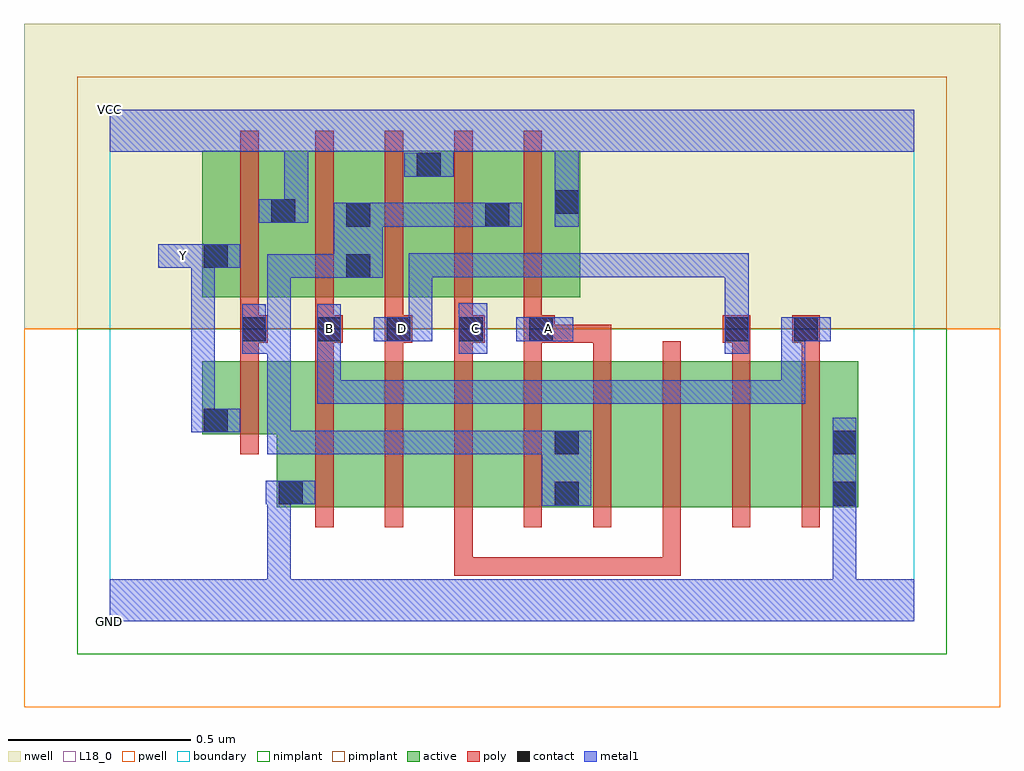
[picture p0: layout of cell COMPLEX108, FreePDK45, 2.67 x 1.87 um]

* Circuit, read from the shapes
.subckt COMPLEX108 A B C D GND VCC Y
M1 GND n1 Y VSUBS nfet w=0.2u l=0.05u
M2 n2 B GND VSUBS nfet w=0.4u l=0.05u
M3 n3 D n2 VSUBS nfet w=0.4u l=0.05u
M4 n4 C n3 VSUBS nfet w=0.4u l=0.05u
M5 n1 A n4 VSUBS nfet w=0.4u l=0.05u
M6 n5 A n1 VSUBS nfet w=0.4u l=0.05u
M7 n6 C n5 VSUBS nfet w=0.4u l=0.05u
M8 n7 D n6 VSUBS nfet w=0.4u l=0.05u
M9 GND B n7 VSUBS nfet w=0.4u l=0.05u
M10 VCC n1 Y n8 pfet w=0.4u l=0.05u
M11 n1 B VCC n8 pfet w=0.4u l=0.05u
M12 VCC D n1 n8 pfet w=0.4u l=0.05u
M13 n1 C VCC n8 pfet w=0.4u l=0.05u
M14 VCC A n1 n8 pfet w=0.4u l=0.05u
.ends

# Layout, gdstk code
import gdstk
lib = gdstk.Library(unit=1e-6, precision=1e-09)
def R(c, l, rs):  # rectangles x0, y0, x1, y1
    for r in rs: c.add(gdstk.rectangle(r[:2], r[2:], *l))
def A(c, l, x, y, w, h, nx, ny, dx, dy):  # array of equal rectangles
    R(c, l, [(x+i*dx, y+j*dy, x+i*dx+w, y+j*dy+h) for i in range(nx) for j in range(ny)])
active = (1, 0)
pwell = (2, 0)
nwell = (3, 0)
nimplant = (4, 0)
pimplant = (5, 0)
poly = (9, 0)
contact = (10, 0)
metal1 = (11, 0)
L18_0 = (18, 0)
boundary = (235, 0)

complex108 = lib.new_cell('COMPLEX108')
R(complex108, active, [(0.457,0.312,0.682,0.712), (0.682,0.312,0.872,0.712), (0.872,0.312,1.062,0.712), (1.062,0.312,1.287,0.712), (1.212,0.312,1.442,0.712), (1.212,0.312,1.287,0.577), (1.442,0.312,1.632,0.712), (1.632,0.312,1.822,0.712), (1.822,0.312,2.047,0.712), (1.972,0.312,2.047,0.712), (0.457,0.315,0.532,0.597), (0.252,0.512,0.532,0.712), (0.252,0.512,0.327,0.712), (0.252,0.887,0.512,1.287), (0.252,0.887,0.327,1.2), (0.437,0.887,0.717,1.287), (0.642,0.887,0.91,1.287), (0.835,0.887,1.097,1.287), (1.022,0.887,1.287,1.287), (1.212,0.887,1.287,1.255), (0.437,0.907,0.512,1.255), (0.642,0.907,0.717,1.2), (0.835,0.907,0.91,1.287), (1.022,0.907,1.097,1.2)])
R(complex108, pwell, [(-0.235,-0.235,2.435,0.8)])
R(complex108, nwell, [(-0.235,0.8,2.435,1.635)])
R(complex108, nimplant, [(-0.09,-0.09,2.29,0.8)])
R(complex108, pimplant, [(-0.09,0.8,2.29,1.49)])
A(complex108, poly, 0.562, 0.257, 0.05, 0.51, 8, 1, 0.19, 0)
A(complex108, poly, 0.562, 0.717, 0.05, 0.095, 5, 1, 0.19, 0)
A(complex108, poly, 0.562, 0.787, 0.05, 0.095, 4, 1, 0.19, 0)
A(complex108, poly, 0.562, 0.832, 0.05, 0.51, 4, 1, 0.19, 0)
R(complex108, poly, [(0.942,0.125,0.992,0.307), (0.942,0.125,0.992,0.175), (0.942,0.125,0.992,0.175), (0.942,0.125,0.992,0.175), (0.942,0.125,1.24,0.175), (1.19,0.125,1.24,0.175), (1.19,0.125,1.24,0.175), (1.19,0.125,1.24,0.175), (1.19,0.125,1.372,0.175), (1.322,0.125,1.372,0.175), (1.322,0.125,1.562,0.175), (1.512,0.125,1.562,0.307), (1.512,0.125,1.562,0.175), (1.512,0.125,1.562,0.175), (1.512,0.125,1.562,0.175), (0.357,0.457,0.407,0.767), (0.357,0.717,0.407,0.812), (1.702,0.717,1.752,0.812), (1.892,0.717,1.942,0.812), (0.357,0.762,0.432,0.837), (0.562,0.762,0.637,0.837), (0.752,0.762,0.827,0.837), (0.942,0.762,1.025,0.837), (1.132,0.762,1.217,0.837), (1.167,0.762,1.217,0.812), (1.167,0.762,1.217,0.812), (1.167,0.762,1.372,0.812), (1.322,0.762,1.372,0.812), (1.677,0.762,1.752,0.837), (1.867,0.762,1.942,0.837), (0.357,0.787,0.407,0.882), (0.357,0.832,0.407,1.342)])
R(complex108, contact, [(1.217,0.317,1.282,0.382), (1.977,0.317,2.042,0.382), (0.462,0.32,0.527,0.385), (1.217,0.457,1.282,0.522), (1.977,0.457,2.042,0.522), (0.257,0.517,0.322,0.582), (0.362,0.767,0.427,0.832), (0.567,0.767,0.632,0.832), (0.757,0.767,0.822,0.832), (0.955,0.767,1.02,0.832), (1.147,0.767,1.212,0.832), (1.682,0.767,1.747,0.832), (1.872,0.767,1.937,0.832), (0.647,0.94,0.712,1.005), (0.257,0.967,0.322,1.032), (0.647,1.08,0.712,1.145), (1.027,1.08,1.092,1.145), (0.442,1.09,0.507,1.155), (1.217,1.115,1.282,1.18), (0.84,1.217,0.905,1.282)])
R(complex108, metal1, [(0,0,2.2,0.115), (0.43,0.05,0.495,0.385), (1.977,0.05,2.042,0.347), (1.977,0.05,2.042,0.115), (1.977,0.05,2.042,0.115), (1.977,0.05,2.042,0.115), (1.977,0.05,2.042,0.115), (1.977,0.282,2.042,0.557), (1.182,0.317,1.317,0.522), (0.427,0.32,0.562,0.385), (0.43,0.32,0.495,0.385), (0.43,0.32,0.495,0.385), (0.43,0.32,0.495,0.385), (0.43,0.32,0.495,0.385), (0.43,0.457,0.495,0.522), (0.43,0.457,0.495,0.522), (0.43,0.457,0.495,0.522), (0.43,0.457,0.632,0.522), (0.43,0.457,0.495,0.797), (0.567,0.457,0.632,0.522), (0.567,0.457,0.632,0.522), (0.567,0.457,0.632,0.522), (0.567,0.457,0.882,0.522), (0.817,0.457,0.882,0.522), (0.817,0.457,0.882,0.522), (0.817,0.457,0.882,0.522), (0.817,0.457,1.04,0.522), (0.975,0.457,1.04,0.522), (0.975,0.457,1.04,0.522), (0.975,0.457,1.04,0.522), (0.975,0.457,1.197,0.522), (1.132,0.457,1.197,0.522), (1.132,0.457,1.247,0.522), (0.222,0.517,0.357,0.582), (0.222,0.517,0.287,1.032), (0.567,0.595,0.632,0.66), (0.567,0.595,0.882,0.66), (0.567,0.595,0.632,0.797), (0.817,0.595,0.882,0.66), (0.817,0.595,0.882,0.66), (0.817,0.595,0.882,0.66), (0.817,0.595,1.04,0.66), (0.975,0.595,1.04,0.66), (0.975,0.595,1.04,0.66), (0.975,0.595,1.04,0.66), (0.975,0.595,1.177,0.66), (1.112,0.595,1.177,0.66), (1.112,0.595,1.177,0.66), (1.112,0.595,1.177,0.66), (1.112,0.595,1.472,0.66), (1.407,0.595,1.472,0.66), (1.407,0.595,1.472,0.66), (1.407,0.595,1.472,0.66), (1.407,0.595,1.61,0.66), (1.545,0.595,1.61,0.66), (1.545,0.595,1.61,0.66), (1.545,0.595,1.61,0.66), (1.545,0.595,1.765,0.66), (1.7,0.595,1.765,0.66), (1.7,0.595,1.902,0.66), (1.837,0.595,1.902,0.66), (1.837,0.595,1.902,0.832), (0.362,0.732,0.427,0.867), (0.362,0.732,0.495,0.797), (0.43,0.732,0.495,0.797), (0.43,0.732,0.495,1.005), (0.567,0.732,0.632,0.797), (0.567,0.732,0.632,0.797), (0.567,0.732,0.632,0.867), (0.955,0.732,1.032,0.87), (1.682,0.732,1.747,0.867), (0.722,0.767,0.867,0.832), (0.802,0.767,0.882,0.832), (0.817,0.767,0.882,0.832), (0.817,0.767,0.882,1.007), (1.112,0.767,1.267,0.832), (1.837,0.767,1.902,0.832), (1.837,0.767,1.902,0.832), (1.837,0.767,1.972,0.832), (1.682,0.802,1.747,0.867), (1.682,0.802,1.747,0.867), (1.682,0.802,1.747,1.007), (0.43,0.94,0.495,1.005), (0.43,0.94,0.565,1.005), (0.5,0.94,0.565,1.005), (0.5,0.94,0.677,1.005), (0.612,0.94,0.747,1.145), (0.817,0.942,0.882,1.007), (0.817,0.942,1.04,1.007), (0.975,0.942,1.04,1.007), (0.975,0.942,1.04,1.007), (0.975,0.942,1.04,1.007), (0.975,0.942,1.197,1.007), (1.132,0.942,1.197,1.007), (1.132,0.942,1.335,1.007), (1.27,0.942,1.335,1.007), (1.27,0.942,1.335,1.007), (1.27,0.942,1.335,1.007), (1.27,0.942,1.472,1.007), (1.407,0.942,1.472,1.007), (1.407,0.942,1.61,1.007), (1.545,0.942,1.61,1.007), (1.545,0.942,1.747,1.007), (1.682,0.942,1.747,1.007), (0.132,0.967,0.287,1.032), (0.222,0.967,0.287,1.032), (0.222,0.967,0.357,1.032), (0.667,1.08,0.732,1.145), (0.667,1.08,0.732,1.145), (0.667,1.08,0.77,1.145), (0.705,1.08,0.77,1.145), (0.705,1.08,0.885,1.145), (0.82,1.08,0.885,1.145), (0.82,1.08,1.04,1.145), (0.975,1.08,1.04,1.145), (0.975,1.08,1.057,1.145), (0.992,1.08,1.127,1.145), (1.217,1.08,1.282,1.215), (0.407,1.09,0.542,1.155), (0.477,1.09,0.542,1.35), (1.217,1.15,1.282,1.35), (0.805,1.217,0.94,1.282), (0.875,1.217,0.94,1.35), (0,1.285,2.2,1.4)])
R(complex108, L18_0, [(0,0,2.2,0.115), (0.43,0.05,0.495,0.385), (1.977,0.05,2.042,0.115), (1.977,0.05,2.042,0.115), (1.977,0.05,2.042,0.115), (1.977,0.05,2.042,0.115), (1.977,0.05,2.042,0.347), (1.977,0.282,2.042,0.557), (0.427,0.32,0.562,0.385), (0.43,0.32,0.495,0.385), (0.43,0.32,0.495,0.385), (0.43,0.32,0.495,0.385), (0.43,0.32,0.495,0.385), (0.222,0.517,0.357,0.582), (0.222,0.517,0.287,1.032), (0.567,0.595,0.632,0.66), (0.567,0.595,0.632,0.797), (0.567,0.595,0.882,0.66), (0.817,0.595,0.882,0.66), (0.817,0.595,0.882,0.66), (0.817,0.595,0.882,0.66), (0.817,0.595,1.04,0.66), (0.975,0.595,1.04,0.66), (0.975,0.595,1.04,0.66), (0.975,0.595,1.04,0.66), (0.975,0.595,1.177,0.66), (1.112,0.595,1.177,0.66), (1.112,0.595,1.177,0.66), (1.112,0.595,1.177,0.66), (1.112,0.595,1.472,0.66), (1.407,0.595,1.472,0.66), (1.407,0.595,1.472,0.66), (1.407,0.595,1.472,0.66), (1.407,0.595,1.61,0.66), (1.545,0.595,1.61,0.66), (1.545,0.595,1.61,0.66), (1.545,0.595,1.61,0.66), (1.545,0.595,1.765,0.66), (1.7,0.595,1.765,0.66), (1.7,0.595,1.902,0.66), (1.837,0.595,1.902,0.66), (1.837,0.595,1.902,0.832), (0.567,0.732,0.632,0.797), (0.567,0.732,0.632,0.797), (0.567,0.732,0.632,0.867), (0.955,0.732,1.032,0.87), (1.682,0.732,1.747,0.867), (0.567,0.767,0.632,0.832), (0.722,0.767,0.867,0.832), (0.767,0.767,0.832,0.832), (0.802,0.767,0.882,0.832), (0.817,0.767,0.882,0.832), (0.817,0.767,0.882,1.007), (0.967,0.767,1.032,0.832), (1.112,0.767,1.267,0.832), (1.167,0.767,1.232,0.832), (1.837,0.767,1.972,0.832), (1.837,0.767,1.902,0.832), (1.837,0.767,1.902,0.832), (1.682,0.802,1.747,0.867), (1.682,0.802,1.747,0.867), (1.682,0.802,1.747,1.007), (0.817,0.942,0.882,1.007), (0.817,0.942,1.04,1.007), (0.975,0.942,1.04,1.007), (0.975,0.942,1.04,1.007), (0.975,0.942,1.04,1.007), (0.975,0.942,1.197,1.007), (1.132,0.942,1.197,1.007), (1.132,0.942,1.335,1.007), (1.27,0.942,1.335,1.007), (1.27,0.942,1.335,1.007), (1.27,0.942,1.335,1.007), (1.27,0.942,1.472,1.007), (1.407,0.942,1.472,1.007), (1.407,0.942,1.61,1.007), (1.545,0.942,1.61,1.007), (1.545,0.942,1.747,1.007), (1.682,0.942,1.747,1.007), (0.132,0.967,0.287,1.032), (0.167,0.967,0.232,1.032), (0.222,0.967,0.357,1.032), (0.222,0.967,0.287,1.032), (1.217,1.08,1.282,1.215), (0.407,1.09,0.542,1.155), (0.477,1.09,0.542,1.35), (1.217,1.15,1.282,1.35), (0.805,1.217,0.94,1.282), (0.875,1.217,0.94,1.35), (0,1.285,2.2,1.4)])
R(complex108, boundary, [(0,0,2.2,1.4)])
complex108.add(gdstk.Label('A', (1.2,0.8), layer=11, texttype=0))
complex108.add(gdstk.Label('B', (0.6,0.8), layer=11, texttype=0))
complex108.add(gdstk.Label('C', (1,0.8), layer=11, texttype=0))
complex108.add(gdstk.Label('D', (0.8,0.8), layer=11, texttype=0))
complex108.add(gdstk.Label('Y', (0.2,1), layer=11, texttype=0))
complex108.add(gdstk.Label('VCC', (0,1.4), layer=11, texttype=0))
complex108.add(gdstk.Label('GND', (0,0), layer=11, texttype=0))

lib.write_gds('COMPLEX108.gds')
